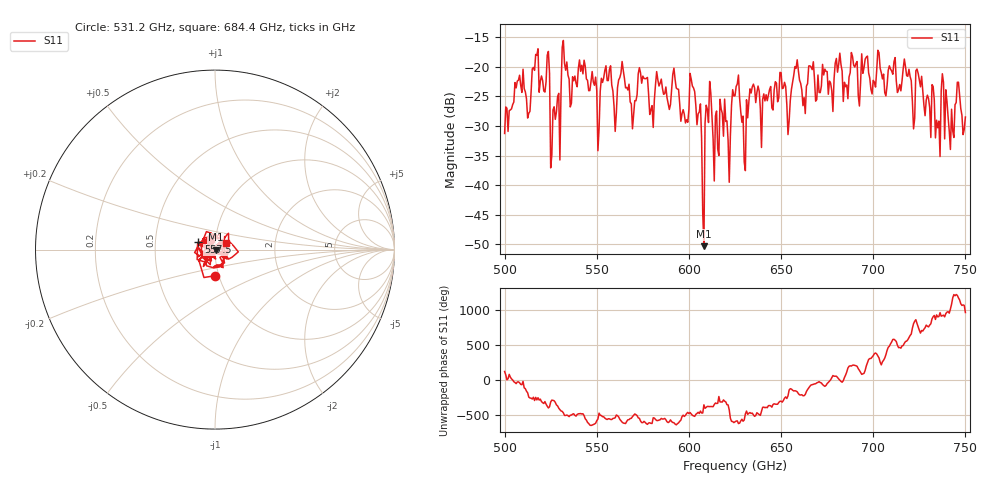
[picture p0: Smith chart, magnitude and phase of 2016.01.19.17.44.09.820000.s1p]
!Created with skrf (http://scikit-rf.org).
# GHz S RI R 50.0
!freq ReS11 ImS11
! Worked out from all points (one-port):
!   401 points, 500 GHz to 750 GHz, reference 50 ohm
!   lowest |S11| = -50.3 dB at 608.1 GHz (marker M1), VSWR 1.01, Z = 50.3 + j0.0126 ohm
!   |S11| at or under -10 dB: start of sweep to end of sweep
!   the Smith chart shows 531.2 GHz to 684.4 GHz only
!   S11 on the Smith chart (normalised r, x): 531.2 GHz: 0.95, -0.28; 557.5 GHz: 0.83, +0.07; 684.4 GHz: 1.13, +0.09
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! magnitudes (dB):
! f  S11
! 500 GHz  -31.3
! 506.9 GHz  -22.4
! 513.1 GHz  -27.8
! 516.9 GHz  -17.9
! 523.1 GHz  -18.0
! 526.2 GHz  -27.3
! 531.2 GHz  -16.7
! 557.5 GHz  -19.8
! 562.5 GHz  -21.8
! 569.4 GHz  -30.5
! 573.8 GHz  -21.0
! 580 GHz  -26.6
! 593.8 GHz  -23.8
! 598.8 GHz  -29.0
! 601.9 GHz  -23.2
! 608.1 GHz  -50.3
! 610.6 GHz  -29.4
! 621.2 GHz  -32.4
! 625 GHz  -24.9
! 629.4 GHz  -28.3
! 634.4 GHz  -23.4
! 656.2 GHz  -22.6
! 684.4 GHz  -22.6
! 687.5 GHz  -21.0
! 718.8 GHz  -21.6
! 735 GHz  -30.3
! 738.1 GHz  -22.7
! 750 GHz  -28.5
